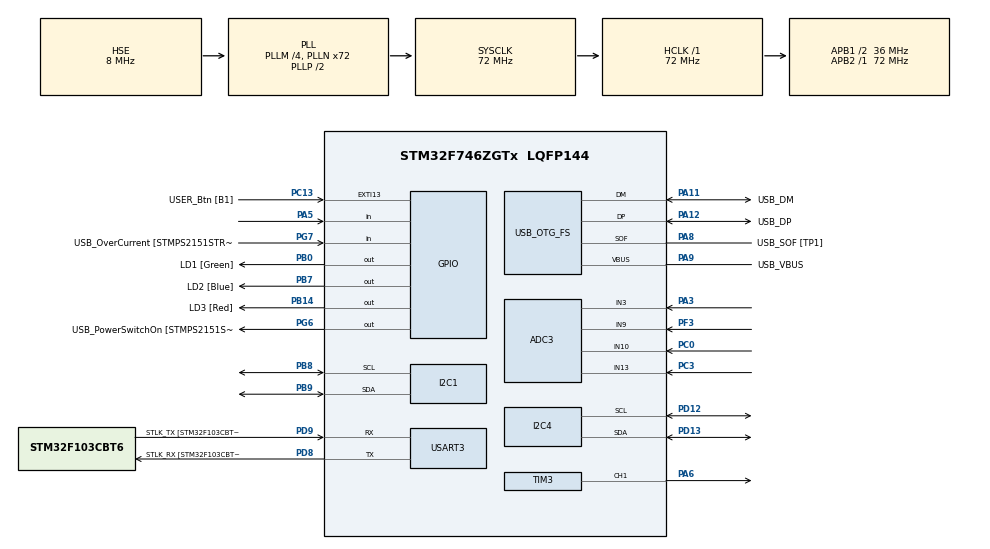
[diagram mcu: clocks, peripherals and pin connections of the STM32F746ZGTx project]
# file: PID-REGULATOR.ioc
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ADC3.Channel-0\#ChannelRegularConversion=ADC_CHANNEL_3
ADC3.Channel-1\#ChannelRegularConversion=ADC_CHANNEL_10
ADC3.Channel-2\#ChannelRegularConversion=ADC_CHANNEL_13
ADC3.Channel-3\#ChannelRegularConversion=ADC_CHANNEL_9
ADC3.ContinuousConvMode=ENABLE
ADC3.DMAContinuousRequests=ENABLE
ADC3.NbrOfConversion=4
ADC3.NbrOfConversionFlag=1
ADC3.Rank-0\#ChannelRegularConversion=1
ADC3.Rank-1\#ChannelRegularConversion=2
ADC3.Rank-2\#ChannelRegularConversion=3
ADC3.Rank-3\#ChannelRegularConversion=4
ADC3.SamplingTime-0\#ChannelRegularConversion=ADC_SAMPLETIME_480CYCLES
ADC3.SamplingTime-1\#ChannelRegularConversion=ADC_SAMPLETIME_480CYCLES
ADC3.SamplingTime-2\#ChannelRegularConversion=ADC_SAMPLETIME_480CYCLES
ADC3.SamplingTime-3\#ChannelRegularConversion=ADC_SAMPLETIME_480CYCLES
ADC3.ScanConvMode=ADC_SCAN_ENABLE
Dma.ADC3.0.Direction=DMA_PERIPH_TO_MEMORY
Dma.ADC3.0.FIFOMode=DMA_FIFOMODE_DISABLE
Dma.ADC3.0.Instance=DMA2_Stream0
Dma.ADC3.0.MemDataAlignment=DMA_MDATAALIGN_HALFWORD
Dma.ADC3.0.MemInc=DMA_MINC_ENABLE
Dma.ADC3.0.Mode=DMA_CIRCULAR
Dma.ADC3.0.PeriphDataAlignment=DMA_PDATAALIGN_HALFWORD
Dma.ADC3.0.PeriphInc=DMA_PINC_DISABLE
Dma.ADC3.0.Priority=DMA_PRIORITY_LOW
Dma.Request0=ADC3
I2C1.Timing=0x00808CD2
I2C4.Timing=0x00808CD2
Mcu.Family=STM32F7
Mcu.Name=STM32F746ZGTx
Mcu.Package=LQFP144
NVIC.DMA2_Stream0_IRQn=true\:0\:0\:false\:false\:true\:false\:true\:true
NVIC.PriorityGroup=NVIC_PRIORITYGROUP_4
PA1.GPIO_Label=RMII_REF_CLK [LAN8742A-CZ-TR_REFCLK0]
PA1.Signal=ETH_REF_CLK
PA10.GPIO_Label=USB_ID
PA10.Signal=USB_OTG_FS_ID
PA11.GPIO_Label=USB_DM
PA11.Mode=Device_Only
PA11.Signal=USB_OTG_FS_DM
PA12.GPIO_Label=USB_DP
PA12.Mode=Device_Only
PA12.Signal=USB_OTG_FS_DP
PA13.GPIO_Label=TMS
PA13.Mode=Serial_Wire
PA13.Signal=SYS_JTMS-SWDIO
PA14.GPIO_Label=TCK
PA14.Mode=Serial_Wire
PA14.Signal=SYS_JTCK-SWCLK
PA2.GPIO_Label=RMII_MDIO [LAN8742A-CZ-TR_MDIO]
PA2.Signal=ETH_MDIO
PA3.Signal=ADCx_IN3
PA5.GPIO_PuPd=GPIO_PULLDOWN
PA5.Signal=GPIO_Input
PA6.Signal=S_TIM3_CH1
PA7.Signal=S_TIM3_CH2
PA8.GPIO_Label=USB_SOF [TP1]
PA8.Mode=Activate_SOF_FS
PA8.Signal=USB_OTG_FS_SOF
PA9.GPIO_Label=USB_VBUS
PA9.Mode=Activate_VBUS
PA9.Signal=USB_OTG_FS_VBUS
PB0.GPIO_Label=LD1 [Green]
PB0.Signal=GPIO_Output
PB13.GPIO_Label=RMII_TXD1 [LAN8742A-CZ-TR_TXD1]
PB13.Signal=ETH_TXD1
PB14.GPIO_Label=LD3 [Red]
PB14.Signal=GPIO_Output
PB3.GPIO_Label=SW0
PB3.Signal=SYS_JTDO-SWO
PB7.GPIO_Label=LD2 [Blue]
PB7.Signal=GPIO_Output
PB8.Mode=I2C
PB8.Signal=I2C1_SCL
PB9.Mode=I2C
PB9.Signal=I2C1_SDA
PC0.Signal=ADCx_IN10
PC1.GPIO_Label=RMII_MDC [LAN8742A-CZ-TR_MDC]
PC1.Signal=ETH_MDC
PC13.GPIO_Label=USER_Btn [B1]
PC13.Signal=GPXTI13
PC14/OSC32_IN.Mode=LSE-External-Oscillator
PC14/OSC32_IN.Signal=RCC_OSC32_IN
PC15/OSC32_OUT.Mode=LSE-External-Oscillator
PC15/OSC32_OUT.Signal=RCC_OSC32_OUT
PC3.Signal=ADCx_IN13
PC4.GPIO_Label=RMII_RXD0 [LAN8742A-CZ-TR_RXD0]
PC4.Signal=ETH_RXD0
PC5.GPIO_Label=RMII_RXD1 [LAN8742A-CZ-TR_RXD1]
PC5.Signal=ETH_RXD1
PD12.Mode=I2C
PD12.Signal=I2C4_SCL
PD13.Mode=I2C
PD13.Signal=I2C4_SDA
PD8.GPIO_Label=STLK_RX [STM32F103CBT6_PA3]
PD8.GPIO_PuPd=GPIO_PULLUP
PD8.Mode=Asynchronous
PD8.Signal=USART3_TX
PD9.GPIO_Label=STLK_TX [STM32F103CBT6_PA2]
PD9.GPIO_PuPd=GPIO_PULLUP
PD9.Mode=Asynchronous
PD9.Signal=USART3_RX
PF3.Mode=IN9
PF3.Signal=ADC3_IN9
PG11.GPIO_Label=RMII_TX_EN [LAN8742A-CZ-TR_TXEN]
PG11.Signal=ETH_TX_EN
PG13.GPIO_Label=RMII_TXD0 [LAN8742A-CZ-TR_TXD0]
PG13.Signal=ETH_TXD0
PG6.GPIO_Label=USB_PowerSwitchOn [STMPS2151STR_EN]
PG6.Signal=GPIO_Output
PG7.GPIO_Label=USB_OverCurrent [STMPS2151STR_FAULT]
PG7.Signal=GPIO_Input
PH0/OSC_IN.GPIO_Label=MCO [STM32F103CBT6_PA8]
PH0/OSC_IN.Mode=HSE-External-Clock-Source
PH0/OSC_IN.Signal=RCC_OSC_IN
PH1/OSC_OUT.Mode=HSE-External-Clock-Source
PH1/OSC_OUT.Signal=RCC_OSC_OUT
ProjectManager.HeapSize=0x200
ProjectManager.StackSize=0x400
ProjectManager.TargetToolchain=STM32CubeIDE
RCC.48MHZClocksFreq_Value=24000000
RCC.AHBFreq_Value=72000000
RCC.APB1CLKDivider=RCC_HCLK_DIV2
RCC.APB1Freq_Value=36000000
RCC.APB1TimFreq_Value=72000000
RCC.APB2Freq_Value=72000000
RCC.APB2TimFreq_Value=72000000
RCC.CortexFreq_Value=72000000
RCC.HCLKFreq_Value=72000000
RCC.HSE_VALUE=8000000
RCC.HSI_VALUE=16000000
RCC.PLLM=4
RCC.PLLMUL=RCC_PLL_MUL9
RCC.PLLN=72
RCC.PLLQ=3
RCC.PRESCALERUSB=RCC_USBCLKSOURCE_PLL_DIV1_5
RCC.SYSCLKFreq_VALUE=72000000
RCC.SYSCLKSource=RCC_SYSCLKSOURCE_PLLCLK
RCC.SYSCLKSourceVirtual=RCC_SYSCLKSOURCE_PLLCLK
RCC.USBFreq_Value=48000000
RCC.VCOOutputFreq_Value=144000000
SH.ADCx_IN10.0=ADC3_IN10,IN10
SH.ADCx_IN13.0=ADC3_IN13,IN13
SH.ADCx_IN3.0=ADC3_IN3,IN3
SH.S_TIM3_CH1.0=TIM3_CH1,PWM Generation1 CH1
SH.S_TIM3_CH2.0=TIM3_CH2
TIM3.Channel-PWM\ Generation1\ CH1=TIM_CHANNEL_1
TIM3.Period=19999
TIM3.Prescaler=71
TIM3.Pulse-PWM\ Generation1\ CH1=1500
USART3.VirtualMode-Asynchronous=VM_ASYNC
USB_OTG_FS.VirtualMode=Device_Only
VP_TIM3_VS_ClockSourceINT.Mode=Internal
board=NUCLEO-F746ZG

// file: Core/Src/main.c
/* USER CODE BEGIN Header */
/* USER CODE END Header */
#include "main.h"

/* USER CODE BEGIN Includes */
#include "i2c-lcd.h"
#include <stdio.h>
#include <string.h>
#include <stdbool.h>
/* USER CODE END Includes */

ADC_HandleTypeDef hadc3;
DMA_HandleTypeDef hdma_adc3;

I2C_HandleTypeDef hi2c1;
I2C_HandleTypeDef hi2c4;

TIM_HandleTypeDef htim3;

UART_HandleTypeDef huart3;

PCD_HandleTypeDef hpcd_USB_OTG_FS;

/* USER CODE BEGIN PV */

	uint16_t adc_raw[4];
	float obroty_set, Kp, Ki, Kd;

	// Współczynnik filtrowania (0.0 - 1.0)
	// Im mniejszy, tym silniejsze wygładzanie, ale większe opóźnienie.
	float alpha = 0.2f;

	float Kp_filtered = 0.0f;
	float Ki_filtered = 0.0f;
	float Kd_filtered = 0.0f;
	float Pot_filtered = 90.0f;

	uint32_t stopActiveUntil = 0;
	bool stan_pinu_PA5;

	// Parametry sterowania
	const int basePos = 90;
	const int tolerance = 8;
	const uint32_t holdTime = 1000;
	uint16_t currentPot = 0;

	float pidIntegral = 0.0f;
	float pidLastError = 0.0f;
	float currentServoPos = 90;

	uint32_t lastChangeTime = 0;
	uint16_t lastPotValue = 0;
	uint8_t returnedToBase = 1;
	uint32_t lastPIDTime = 0;

	// Zmienne pomocnicze do wyświetlania
	float SWVupperPosLimit, SWVlowerPosLimit, SWVbasePos;

/* USER CODE END PV */

void SystemClock_Config(void);
static void MX_GPIO_Init(void);
static void MX_DMA_Init(void);
static void MX_USART3_UART_Init(void);
static void MX_USB_OTG_FS_PCD_Init(void);
static void MX_ADC3_Init(void);
static void MX_TIM3_Init(void);
static void MX_I2C1_Init(void);
static void MX_I2C4_Init(void);
/* USER CODE BEGIN PFP */
void requestSoftReset() {
    pidIntegral = 0;
    pidLastError = 0;
    currentServoPos = basePos;
    returnedToBase = 1;
    lastPotValue = adc_raw[0];
    lastChangeTime = HAL_GetTick();
}
void Servo_WriteAngle(uint16_t angle) {
    uint16_t pulse = 500 + ( (angle * 2000) / 180 );
    __HAL_TIM_SET_COMPARE(&htim3, TIM_CHANNEL_1, pulse);
}
/* USER CODE END PFP */

int main(void)
{

  /* MCU Configuration--------------------------------------------------------*/

  /* Reset of all peripherals, Initializes the Flash interface and the Systick. */
  HAL_Init();

  /* Configure the system clock */
  SystemClock_Config();

  /* Initialize all configured peripherals */
  MX_GPIO_Init();
  MX_DMA_Init();
  MX_USART3_UART_Init();
  MX_USB_OTG_FS_PCD_Init();
  MX_ADC3_Init();
  MX_TIM3_Init();
  MX_I2C1_Init();
  MX_I2C4_Init();
  /* USER CODE BEGIN 2 */

  	HAL_TIM_PWM_Start(&htim3, TIM_CHANNEL_1);
    HAL_ADC_Start_DMA(&hadc3, (uint32_t*)adc_raw, 4);

    HAL_Delay(500);
	lcd_init();
	lcd_clear();

	lcd_put_cur(0,0);
	lcd_send_string("PID SERVO REG");
	lcd_put_cur(1,0);
	lcd_send_string("SYSTEM READY");

	float startPot = 180.0f - ((adc_raw[0] * 180.0f) / 4095.0f);

	Pot_filtered = startPot;
	lastPotValue = (uint16_t)startPot;

	Kp = 1.5f - ((adc_raw[1] * 1.5f) / 4095.0f);
	Ki = 0.5f - ((adc_raw[2] * 0.5f) / 4095.0f);
	Kd = 0.5f - ((adc_raw[3] * 0.5f) / 4095.0f);

	currentServoPos = 90.0f;
	Servo_WriteAngle((uint16_t)currentServoPos);

	lastChangeTime = HAL_GetTick();
	lastPIDTime = HAL_GetTick();

	pidIntegral = 0.0f;
	pidLastError = 0.0f;

	HAL_Delay(1000);

  /* USER CODE END 2 */

  /* Infinite loop */
  while(1) {

    /* USER CODE BEGIN 3 */
	      uint32_t now = HAL_GetTick();

	      // 1. ODCZYT PINU STOPU Z FILTREM (DEBOUNCING)
	      if (HAL_GPIO_ReadPin(GPIOA, GPIO_PIN_5) == GPIO_PIN_SET) {
	          HAL_Delay(20); // Czekamy 20ms, żeby wykluczyć zakłócenia
	          if (HAL_GPIO_ReadPin(GPIOA, GPIO_PIN_5) == GPIO_PIN_SET) {
	              stan_pinu_PA5 = true;
	              stopActiveUntil = now + 2000;
	          }
	      } else {
	          stan_pinu_PA5 = false;
	      }

	      // 2. GŁÓWNA LOGIKA STEROWANIA
	      if (now < stopActiveUntil) {
	          // ==========================================
	          // TRYB A: STOP AWARYJNY (POWRÓT DO 90)
	          // ==========================================

	          float step = 1.0f; // Prędkość powrotu do bazy
	          if (currentServoPos > 90.0f + step) {
	              currentServoPos -= step;
	          } else if (currentServoPos < 90.0f - step) {
	              currentServoPos += step;
	          } else {
	              currentServoPos = 90.0f;
	          }

	          Servo_WriteAngle((uint16_t)currentServoPos);

	          // Odświeżanie LCD w trybie STOP (co 300ms)
	          static uint32_t lcdStopTick = 0;
	          if (now - lcdStopTick > 300) {
	              lcdStopTick = now;
	              lcd_put_cur(0, 0);
	              lcd_send_string("STOP AWARYJNY   ");
	              lcd_put_cur(1, 0);
	              lcd_send_string("POZYCJA: 90     ");
	          }

	          // Resetowanie regulatora PID
	          pidIntegral = 0.0f;
	          pidLastError = 0.0f;

	          // Synchronizacja potencjometru, aby uniknąć szarpnięcia po wznowieniu
	          lastPotValue = 180 - (uint16_t)((adc_raw[0] * 180.0f) / 4095.0f);
	          lastChangeTime = now;
	      }
	      else {
	          // ==========================================
	          // TRYB B: NORMALNA PRACA (PID + POTENCJOMETR)
	          // ==========================================

	          // Pobranie nastaw z potencjometrów ADC i filtr EMA
	    	  float Kp_raw = 1.5f - ((adc_raw[1] * 1.5f) / 4095.0f);
	    	  float Ki_raw = 0.5f - ((adc_raw[2] * 0.5f) / 4095.0f);
	    	  float Kd_raw = 0.5f - ((adc_raw[3] * 0.5f) / 4095.0f);
	    	  float Pot_raw = 180.0f - ((adc_raw[0] * 180.0f) / 4095.0f);

	    	  Kp = (alpha * Kp_raw) + (1.0f - alpha) * Kp;
	    	  Ki = (alpha * Ki_raw) + (1.0f - alpha) * Ki;
	    	  Kd = (alpha * Kd_raw) + (1.0f - alpha) * Kd;
	    	  Pot_filtered = (alpha * Pot_raw) + (1.0f - alpha) * Pot_filtered;

	    	  currentPot = (uint16_t)Pot_filtered;

	          // --- Wyświetlanie danych na LCD (co 300ms) ---
	          static uint32_t lcdNormalTick = 0;
	          if (now - lcdNormalTick > 200) {
	              lcdNormalTick = now;
	              char line1[17], line2[17];
	              snprintf(line1, sizeof(line1), "P:%.2f I:%.2f", Kp, Ki);
	              snprintf(line2, sizeof(line2), "D:%.2f Pos:%3.0f ", Kd, currentServoPos);

	              lcd_put_cur(0, 0);
	              lcd_send_string(line1);
	              for(int i = (int)strlen(line1); i < 16; i++) lcd_send_data(' ');

	              lcd_put_cur(1, 0);
	              lcd_send_string(line2);
	              for(int i = (int)strlen(line2); i < 16; i++) lcd_send_data(' ');
	          }

	          // --- STEROWANIE RĘCZNE ---
	          if (abs((int)currentPot - (int)lastPotValue) > tolerance) {
	              lastPotValue = currentPot;
	              lastChangeTime = now;

	              pidIntegral = 0.0f;
	              pidLastError = 0.0f;

	              currentServoPos = (float)currentPot;
	              Servo_WriteAngle((uint16_t)currentServoPos);
	          }
	          // --- TRYB PID: POWRÓT DO BAZY (90 STOPNI) ---
	          else if (now - lastChangeTime >= holdTime) {
	              if (now - lastPIDTime >= 50) {
	                  lastPIDTime = now;

	                  float error = 90.0f - currentServoPos; // CEL = 90
	                  pidIntegral += error;
	                  pidIntegral = fminf(50.0f, fmaxf(-50.0f, pidIntegral)); // Anti-windup

	                  float derivative = error - pidLastError;
	                  float output = (Kp * error) + (Ki * pidIntegral) + (Kd * derivative);

	                  // Ograniczenie prędkości zmiany pozycji (max 25 stopni na klatkę PID)
	                  output = fminf(25.0f, fmaxf(-25.0f, output));

	                  currentServoPos += output;

	                  // Sztywne granice serwa
	                  if (currentServoPos > 180.0f) currentServoPos = 180.0f;
	                  if (currentServoPos < 0.0f)   currentServoPos = 0.0f;

	                  Servo_WriteAngle((uint16_t)currentServoPos);
	                  pidLastError = error;
	              }
	          }
	          // --- WYSYŁANIE DANYCH DO WIZUALIZACJI (np. co 50ms) ---
	          static uint32_t lastUartTick = 0;
	          if (now - lastUartTick > 50) {
	              lastUartTick = now;
	              char msg[64];

	              // Format: currentPot, currentServoPos, Kp, Ki, Kd
	              int msg_len = snprintf(msg, sizeof(msg), "%d,%.1f,%.2f,%.2f,%.2f\r\n",
	                                     currentPot, currentServoPos, Kp, Ki, Kd);

	              HAL_UART_Transmit(&huart3, (uint8_t*)msg, msg_len, 10);
	          }

			HAL_Delay(5);
	  }
  }
  /* USER CODE END 3 */
}

void SystemClock_Config(void)
{
  RCC_OscInitTypeDef RCC_OscInitStruct = {0};
  RCC_ClkInitTypeDef RCC_ClkInitStruct = {0};

  /** Configure LSE Drive Capability
  */
  HAL_PWR_EnableBkUpAccess();

  /** Configure the main internal regulator output voltage
  */
  __HAL_RCC_PWR_CLK_ENABLE();
  __HAL_PWR_VOLTAGESCALING_CONFIG(PWR_REGULATOR_VOLTAGE_SCALE3);

  /** Initializes the RCC Oscillators according to the specified parameters
  * in the RCC_OscInitTypeDef structure.
  */
  RCC_OscInitStruct.OscillatorType = RCC_OSCILLATORTYPE_HSE;
  RCC_OscInitStruct.HSEState = RCC_HSE_BYPASS;
  RCC_OscInitStruct.PLL.PLLState = RCC_PLL_ON;
  RCC_OscInitStruct.PLL.PLLSource = RCC_PLLSOURCE_HSE;
  RCC_OscInitStruct.PLL.PLLM = 4;
  RCC_OscInitStruct.PLL.PLLN = 72;
  RCC_OscInitStruct.PLL.PLLP = RCC_PLLP_DIV2;
  RCC_OscInitStruct.PLL.PLLQ = 3;
  if (HAL_RCC_OscConfig(&RCC_OscInitStruct) != HAL_OK)
  {
    Error_Handler();
  }

  /** Initializes the CPU, AHB and APB buses clocks
  */
  RCC_ClkInitStruct.ClockType = RCC_CLOCKTYPE_HCLK|RCC_CLOCKTYPE_SYSCLK
                              |RCC_CLOCKTYPE_PCLK1|RCC_CLOCKTYPE_PCLK2;
  RCC_ClkInitStruct.SYSCLKSource = RCC_SYSCLKSOURCE_PLLCLK;
  RCC_ClkInitStruct.AHBCLKDivider = RCC_SYSCLK_DIV1;
  RCC_ClkInitStruct.APB1CLKDivider = RCC_HCLK_DIV2;
  RCC_ClkInitStruct.APB2CLKDivider = RCC_HCLK_DIV1;

  if (HAL_RCC_ClockConfig(&RCC_ClkInitStruct, FLASH_LATENCY_2) != HAL_OK)
  {
    Error_Handler();
  }
}

static void MX_ADC3_Init(void)
{

  ADC_ChannelConfTypeDef sConfig = {0};

  /** Configure the global features of the ADC (Clock, Resolution, Data Alignment and number of conversion)
  */
  hadc3.Instance = ADC3;
  hadc3.Init.ClockPrescaler = ADC_CLOCK_SYNC_PCLK_DIV2;
  hadc3.Init.Resolution = ADC_RESOLUTION_12B;
  hadc3.Init.ScanConvMode = ADC_SCAN_ENABLE;
  hadc3.Init.ContinuousConvMode = ENABLE;
  hadc3.Init.DiscontinuousConvMode = DISABLE;
  hadc3.Init.ExternalTrigConvEdge = ADC_EXTERNALTRIGCONVEDGE_NONE;
  hadc3.Init.ExternalTrigConv = ADC_SOFTWARE_START;
  hadc3.Init.DataAlign = ADC_DATAALIGN_RIGHT;
  hadc3.Init.NbrOfConversion = 4;
  hadc3.Init.DMAContinuousRequests = ENABLE;
  hadc3.Init.EOCSelection = ADC_EOC_SINGLE_CONV;
  if (HAL_ADC_Init(&hadc3) != HAL_OK)
  {
    Error_Handler();
  }

  /** Configure for the selected ADC regular channel its corresponding rank in the sequencer and its sample time.
  */
  sConfig.Channel = ADC_CHANNEL_3;
  sConfig.Rank = ADC_REGULAR_RANK_1;
  sConfig.SamplingTime = ADC_SAMPLETIME_480CYCLES;
  if (HAL_ADC_ConfigChannel(&hadc3, &sConfig) != HAL_OK)
  {
    Error_Handler();
  }

  /** Configure for the selected ADC regular channel its corresponding rank in the sequencer and its sample time.
  */
  sConfig.Channel = ADC_CHANNEL_10;
  sConfig.Rank = ADC_REGULAR_RANK_2;
  if (HAL_ADC_ConfigChannel(&hadc3, &sConfig) != HAL_OK)
  {
    Error_Handler();
  }

  /** Configure for the selected ADC regular channel its corresponding rank in the sequencer and its sample time.
  */
  sConfig.Channel = ADC_CHANNEL_13;
  sConfig.Rank = ADC_REGULAR_RANK_3;
  if (HAL_ADC_ConfigChannel(&hadc3, &sConfig) != HAL_OK)
  {
    Error_Handler();
  }

  /** Configure for the selected ADC regular channel its corresponding rank in the sequencer and its sample time.
  */
  sConfig.Channel = ADC_CHANNEL_9;
  sConfig.Rank = ADC_REGULAR_RANK_4;
  if (HAL_ADC_ConfigChannel(&hadc3, &sConfig) != HAL_OK)
  {
    Error_Handler();
  }

}

static void MX_I2C1_Init(void)
{

  hi2c1.Instance = I2C1;
  hi2c1.Init.Timing = 0x00808CD2;
  hi2c1.Init.OwnAddress1 = 0;
  hi2c1.Init.AddressingMode = I2C_ADDRESSINGMODE_7BIT;
  hi2c1.Init.DualAddressMode = I2C_DUALADDRESS_DISABLE;
  hi2c1.Init.OwnAddress2 = 0;
  hi2c1.Init.OwnAddress2Masks = I2C_OA2_NOMASK;
  hi2c1.Init.GeneralCallMode = I2C_GENERALCALL_DISABLE;
  hi2c1.Init.NoStretchMode = I2C_NOSTRETCH_DISABLE;
  if (HAL_I2C_Init(&hi2c1) != HAL_OK)
  {
    Error_Handler();
  }

  /** Configure Analogue filter
  */
  if (HAL_I2CEx_ConfigAnalogFilter(&hi2c1, I2C_ANALOGFILTER_ENABLE) != HAL_OK)
  {
    Error_Handler();
  }

  /** Configure Digital filter
  */
  if (HAL_I2CEx_ConfigDigitalFilter(&hi2c1, 0) != HAL_OK)
  {
    Error_Handler();
  }

}

static void MX_I2C4_Init(void)
{

  hi2c4.Instance = I2C4;
  hi2c4.Init.Timing = 0x00808CD2;
  hi2c4.Init.OwnAddress1 = 0;
  hi2c4.Init.AddressingMode = I2C_ADDRESSINGMODE_7BIT;
  hi2c4.Init.DualAddressMode = I2C_DUALADDRESS_DISABLE;
  hi2c4.Init.OwnAddress2 = 0;
  hi2c4.Init.OwnAddress2Masks = I2C_OA2_NOMASK;
  hi2c4.Init.GeneralCallMode = I2C_GENERALCALL_DISABLE;
  hi2c4.Init.NoStretchMode = I2C_NOSTRETCH_DISABLE;
  if (HAL_I2C_Init(&hi2c4) != HAL_OK)
  {
    Error_Handler();
  }

  /** Configure Analogue filter
  */
  if (HAL_I2CEx_ConfigAnalogFilter(&hi2c4, I2C_ANALOGFILTER_ENABLE) != HAL_OK)
  {
    Error_Handler();
  }

  /** Configure Digital filter
  */
  if (HAL_I2CEx_ConfigDigitalFilter(&hi2c4, 0) != HAL_OK)
  {
    Error_Handler();
  }

}

static void MX_TIM3_Init(void)
{

  TIM_ClockConfigTypeDef sClockSourceConfig = {0};
  TIM_MasterConfigTypeDef sMasterConfig = {0};
  TIM_OC_InitTypeDef sConfigOC = {0};

  htim3.Instance = TIM3;
  htim3.Init.Prescaler = 71;
  htim3.Init.CounterMode = TIM_COUNTERMODE_UP;
  htim3.Init.Period = 19999;
  htim3.Init.ClockDivision = TIM_CLOCKDIVISION_DIV1;
  htim3.Init.AutoReloadPreload = TIM_AUTORELOAD_PRELOAD_DISABLE;
  if (HAL_TIM_Base_Init(&htim3) != HAL_OK)
  {
    Error_Handler();
  }
  sClockSourceConfig.ClockSource = TIM_CLOCKSOURCE_INTERNAL;
  if (HAL_TIM_ConfigClockSource(&htim3, &sClockSourceConfig) != HAL_OK)
  {
    Error_Handler();
  }
  if (HAL_TIM_PWM_Init(&htim3) != HAL_OK)
  {
    Error_Handler();
  }
  sMasterConfig.MasterOutputTrigger = TIM_TRGO_RESET;
  sMasterConfig.MasterSlaveMode = TIM_MASTERSLAVEMODE_DISABLE;
  if (HAL_TIMEx_MasterConfigSynchronization(&htim3, &sMasterConfig) != HAL_OK)
  {
    Error_Handler();
  }
  sConfigOC.OCMode = TIM_OCMODE_PWM1;
  sConfigOC.Pulse = 1500;
  sConfigOC.OCPolarity = TIM_OCPOLARITY_HIGH;
  sConfigOC.OCFastMode = TIM_OCFAST_DISABLE;
  if (HAL_TIM_PWM_ConfigChannel(&htim3, &sConfigOC, TIM_CHANNEL_1) != HAL_OK)
  {
    Error_Handler();
  }
  HAL_TIM_MspPostInit(&htim3);

}

static void MX_USART3_UART_Init(void)
{

  huart3.Instance = USART3;
  huart3.Init.BaudRate = 115200;
  huart3.Init.WordLength = UART_WORDLENGTH_8B;
  huart3.Init.StopBits = UART_STOPBITS_1;
  huart3.Init.Parity = UART_PARITY_NONE;
  huart3.Init.Mode = UART_MODE_TX_RX;
  huart3.Init.HwFlowCtl = UART_HWCONTROL_NONE;
  huart3.Init.OverSampling = UART_OVERSAMPLING_16;
  huart3.Init.OneBitSampling = UART_ONE_BIT_SAMPLE_DISABLE;
  huart3.AdvancedInit.AdvFeatureInit = UART_ADVFEATURE_NO_INIT;
  if (HAL_UART_Init(&huart3) != HAL_OK)
  {
    Error_Handler();
  }

}

static void MX_USB_OTG_FS_PCD_Init(void)
{

  hpcd_USB_OTG_FS.Instance = USB_OTG_FS;
  hpcd_USB_OTG_FS.Init.dev_endpoints = 6;
  hpcd_USB_OTG_FS.Init.speed = PCD_SPEED_FULL;
  hpcd_USB_OTG_FS.Init.dma_enable = DISABLE;
  hpcd_USB_OTG_FS.Init.phy_itface = PCD_PHY_EMBEDDED;
  hpcd_USB_OTG_FS.Init.Sof_enable = ENABLE;
  hpcd_USB_OTG_FS.Init.low_power_enable = DISABLE;
  hpcd_USB_OTG_FS.Init.lpm_enable = DISABLE;
  hpcd_USB_OTG_FS.Init.vbus_sensing_enable = ENABLE;
  hpcd_USB_OTG_FS.Init.use_dedicated_ep1 = DISABLE;
  if (HAL_PCD_Init(&hpcd_USB_OTG_FS) != HAL_OK)
  {
    Error_Handler();
  }

}

static void MX_DMA_Init(void)
{

  /* DMA controller clock enable */
  __HAL_RCC_DMA2_CLK_ENABLE();

  /* DMA interrupt init */
  /* DMA2_Stream0_IRQn interrupt configuration */
  HAL_NVIC_SetPriority(DMA2_Stream0_IRQn, 0, 0);
  HAL_NVIC_EnableIRQ(DMA2_Stream0_IRQn);

}

static void MX_GPIO_Init(void)
{
  GPIO_InitTypeDef GPIO_InitStruct = {0};

  /* GPIO Ports Clock Enable */
  __HAL_RCC_GPIOC_CLK_ENABLE();
  __HAL_RCC_GPIOF_CLK_ENABLE();
  __HAL_RCC_GPIOH_CLK_ENABLE();
  __HAL_RCC_GPIOA_CLK_ENABLE();
  __HAL_RCC_GPIOB_CLK_ENABLE();
  __HAL_RCC_GPIOD_CLK_ENABLE();
  __HAL_RCC_GPIOG_CLK_ENABLE();

  /*Configure GPIO pin Output Level */
  HAL_GPIO_WritePin(GPIOB, LD1_Pin|LD3_Pin|LD2_Pin, GPIO_PIN_RESET);

  /*Configure GPIO pin Output Level */
  HAL_GPIO_WritePin(USB_PowerSwitchOn_GPIO_Port, USB_PowerSwitchOn_Pin, GPIO_PIN_RESET);

  /*Configure GPIO pin : USER_Btn_Pin */
  GPIO_InitStruct.Pin = USER_Btn_Pin;
  GPIO_InitStruct.Mode = GPIO_MODE_IT_RISING;
  GPIO_InitStruct.Pull = GPIO_NOPULL;
  HAL_GPIO_Init(USER_Btn_GPIO_Port, &GPIO_InitStruct);

  /*Configure GPIO pins : RMII_MDC_Pin RMII_RXD0_Pin RMII_RXD1_Pin */
  GPIO_InitStruct.Pin = RMII_MDC_Pin|RMII_RXD0_Pin|RMII_RXD1_Pin;
  GPIO_InitStruct.Mode = GPIO_MODE_AF_PP;
  GPIO_InitStruct.Pull = GPIO_NOPULL;
  GPIO_InitStruct.Speed = GPIO_SPEED_FREQ_VERY_HIGH;
  GPIO_InitStruct.Alternate = GPIO_AF11_ETH;
  HAL_GPIO_Init(GPIOC, &GPIO_InitStruct);

  /*Configure GPIO pins : RMII_REF_CLK_Pin RMII_MDIO_Pin */
  GPIO_InitStruct.Pin = RMII_REF_CLK_Pin|RMII_MDIO_Pin;
  GPIO_InitStruct.Mode = GPIO_MODE_AF_PP;
  GPIO_InitStruct.Pull = GPIO_NOPULL;
  GPIO_InitStruct.Speed = GPIO_SPEED_FREQ_VERY_HIGH;
  GPIO_InitStruct.Alternate = GPIO_AF11_ETH;
  HAL_GPIO_Init(GPIOA, &GPIO_InitStruct);

  /*Configure GPIO pin : PA5 */
  GPIO_InitStruct.Pin = GPIO_PIN_5;
  GPIO_InitStruct.Mode = GPIO_MODE_INPUT;
  GPIO_InitStruct.Pull = GPIO_PULLDOWN;
  HAL_GPIO_Init(GPIOA, &GPIO_InitStruct);

  /*Configure GPIO pins : LD1_Pin LD3_Pin LD2_Pin */
  GPIO_InitStruct.Pin = LD1_Pin|LD3_Pin|LD2_Pin;
  GPIO_InitStruct.Mode = GPIO_MODE_OUTPUT_PP;
  GPIO_InitStruct.Pull = GPIO_NOPULL;
  GPIO_InitStruct.Speed = GPIO_SPEED_FREQ_LOW;
  HAL_GPIO_Init(GPIOB, &GPIO_InitStruct);

  /*Configure GPIO pin : RMII_TXD1_Pin */
  GPIO_InitStruct.Pin = RMII_TXD1_Pin;
  GPIO_InitStruct.Mode = GPIO_MODE_AF_PP;
  GPIO_InitStruct.Pull = GPIO_NOPULL;
  GPIO_InitStruct.Speed = GPIO_SPEED_FREQ_VERY_HIGH;
  GPIO_InitStruct.Alternate = GPIO_AF11_ETH;
  HAL_GPIO_Init(RMII_TXD1_GPIO_Port, &GPIO_InitStruct);

  /*Configure GPIO pin : USB_PowerSwitchOn_Pin */
  GPIO_InitStruct.Pin = USB_PowerSwitchOn_Pin;
  GPIO_InitStruct.Mode = GPIO_MODE_OUTPUT_PP;
  GPIO_InitStruct.Pull = GPIO_NOPULL;
  GPIO_InitStruct.Speed = GPIO_SPEED_FREQ_LOW;
  HAL_GPIO_Init(USB_PowerSwitchOn_GPIO_Port, &GPIO_InitStruct);

  /*Configure GPIO pin : USB_OverCurrent_Pin */
  GPIO_InitStruct.Pin = USB_OverCurrent_Pin;
  GPIO_InitStruct.Mode = GPIO_MODE_INPUT;
  GPIO_InitStruct.Pull = GPIO_NOPULL;
  HAL_GPIO_Init(USB_OverCurrent_GPIO_Port, &GPIO_InitStruct);

  /*Configure GPIO pins : RMII_TX_EN_Pin RMII_TXD0_Pin */
  GPIO_InitStruct.Pin = RMII_TX_EN_Pin|RMII_TXD0_Pin;
  GPIO_InitStruct.Mode = GPIO_MODE_AF_PP;
  GPIO_InitStruct.Pull = GPIO_NOPULL;
  GPIO_InitStruct.Speed = GPIO_SPEED_FREQ_VERY_HIGH;
  GPIO_InitStruct.Alternate = GPIO_AF11_ETH;
  HAL_GPIO_Init(GPIOG, &GPIO_InitStruct);

}

void Error_Handler(void)
{
}
